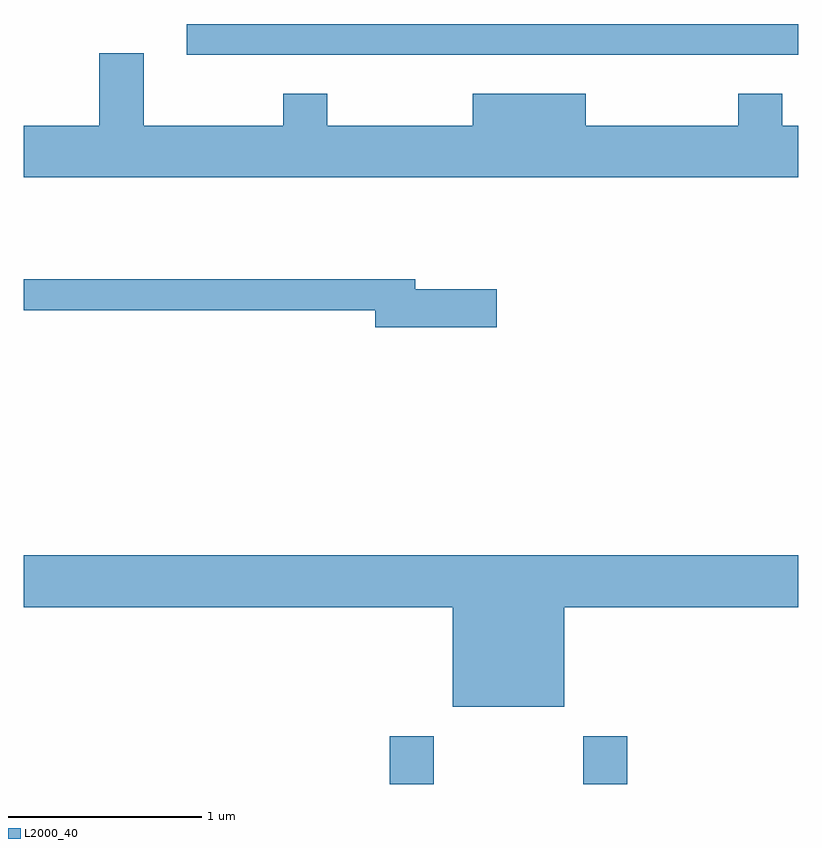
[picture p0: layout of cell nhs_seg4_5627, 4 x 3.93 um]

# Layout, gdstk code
import gdstk
lib = gdstk.Library(unit=1e-6, precision=1e-09)
def R(c, l, rs):  # rectangles x0, y0, x1, y1
    for r in rs: c.add(gdstk.rectangle(r[:2], r[2:], *l))
def P(c, l, *ps):  # polygons
    for p in ps: c.add(gdstk.Polygon(p, *l))
L2000_40 = (2000, 40)

nhs_seg4_5627 = lib.new_cell('nhs_seg4_5627')
R(nhs_seg4_5627, L2000_40, [(351.501,1355.982,351.729,1356.229), (352.501,1355.982,352.729,1356.229), (350.453,1359.751,353.611,1359.909)])
P(nhs_seg4_5627, L2000_40, [(353.611,1359.384),(353.529,1359.384),(353.529,1359.549),(353.301,1359.549),(353.301,1359.384),(352.514,1359.384),(352.514,1359.549),(351.931,1359.549),(351.931,1359.384),(351.179,1359.384),(351.179,1359.549),(350.951,1359.549),(350.951,1359.384),(350.229,1359.384),(350.229,1359.759),(350.001,1359.759),(350.001,1359.384),(349.611,1359.384),(349.611,1359.116),(353.611,1359.116)],
  [(352.054,1358.539),(351.634,1358.539),(351.634,1358.589),(349.611,1358.589),(349.611,1358.431),(351.426,1358.431),(351.426,1358.341),(352.054,1358.341)],
  [(352.404,1356.896),(353.611,1356.896),(353.611,1357.164),(349.611,1357.164),(349.611,1356.896),(351.826,1356.896),(351.826,1356.381),(352.404,1356.381)])

lib.write_gds('nhs_seg4_5627.gds')
